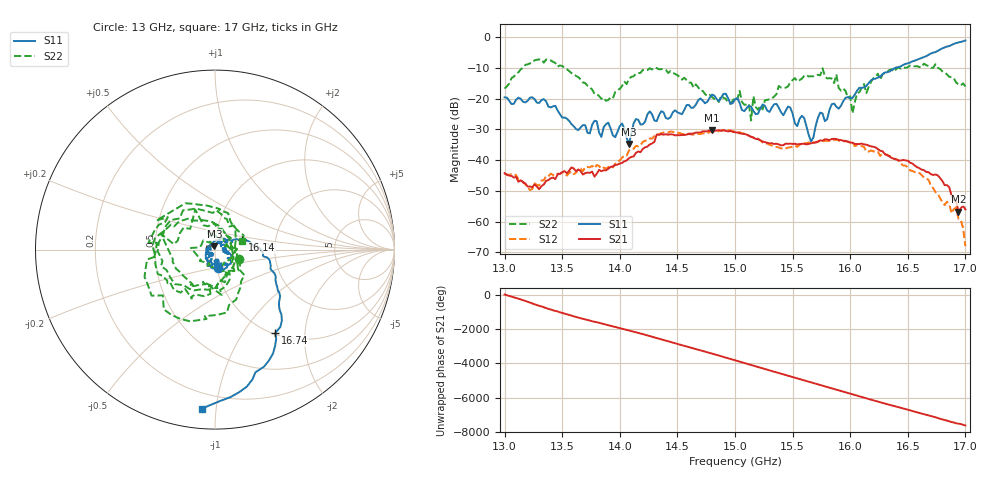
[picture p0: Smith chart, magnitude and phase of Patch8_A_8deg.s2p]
!Keysight Technologies,P9374A,MY57211810,A.19.30.04
!Date: Friday, May 09, 2025 09:20:41
!Correction: S11(Cdelta 2-Port  )
!S21(Cdelta 2-Port  )
!S12(Cdelta 2-Port  )
!S22(Cdelta 2-Port  )
!S2P File: Measurements: S11, S21, S12, S22:
# Hz S  dB  R 50
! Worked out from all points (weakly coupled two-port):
!   201 points, 13 GHz to 17 GHz, reference 50 ohm
!   highest |S21| = -30.22 dB at 14.8 GHz (marker M1); lowest = -56.8 dB at 16.94 GHz (marker M2)
!   lowest |S11| = -34.7 dB at 14.08 GHz (marker M3), VSWR 1.04, Z = 49.6 + j1.8 ohm
!   |S11| at or under -10 dB: start of sweep to 16.39 GHz
!   |S22| runs from -27.1 to -7.2 dB; largest |S21 - S12| = 0.005
!   S11 on the Smith chart (normalised r, x): 13 GHz: 1.01, -0.21; 16.14 GHz: 1.35, +0.15; 16.74 GHz: 1.02, -1.41; 17 GHz: 0.11, -0.91
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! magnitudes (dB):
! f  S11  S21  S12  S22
! 13 GHz  -19.5  -44.2  -44.4  -16.7
! 13.3 GHz  -21.4  -49.5  -48.2  -7.2
! 13.68 GHz  -28.6  -44.7  -43.6  -14.7
! 13.88 GHz  -28.3  -43.3  -42.7  -20.7
! 14.08 GHz  -34.7  -39.3  -36.8  -13.4
! 14.14 GHz  -26.6  -37.6  -35.3  -11.9
! 14.34 GHz  -25.4  -31.7  -31.5  -10.4
! 14.8 GHz  -18.6  -30.2  -30.7  -19.4
! 15 GHz  -20.1  -30.9  -30.7  -19.6
! 15.14 GHz  -22.6  -32.4  -32.4  -27.1
! 15.16 GHz  -24.0  -32.7  -32.6  -19.2
! 15.24 GHz  -21.8  -33.9  -34.3  -23.5
! 15.48 GHz  -22.9  -34.6  -35.8  -14.7
! 15.68 GHz  -32.7  -34.4  -34.2  -12.7
! 15.74 GHz  -24.5  -33.5  -33.7  -12.4
! 15.88 GHz  -22.6  -33.1  -33.3  -12.1
! 16.02 GHz  -19.8  -34.3  -34.2  -24.8
! 16.14 GHz  -15.9  -35.0  -37.2  -18.2
! 16.34 GHz  -11.2  -38.8  -38.6  -10.6
! 16.74 GHz  -4.8  -44.6  -50.4  -8.8
! 16.94 GHz  -1.7  -56.8  -59.2  -15.3
! 17 GHz  -1.0  -56.0  -68.0  -16.0
